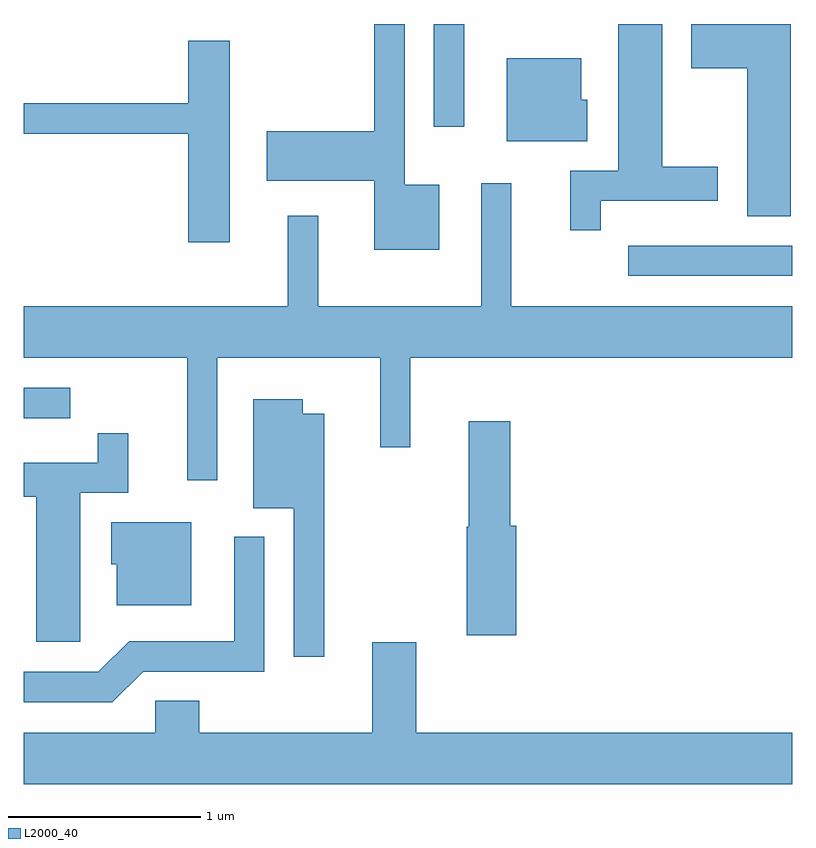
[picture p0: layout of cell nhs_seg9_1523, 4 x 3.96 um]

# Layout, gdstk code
import gdstk
lib = gdstk.Library(unit=1e-6, precision=1e-09)
def R(c, l, rs):  # rectangles x0, y0, x1, y1
    for r in rs: c.add(gdstk.rectangle(r[:2], r[2:], *l))
def P(c, l, *ps):  # polygons
    for p in ps: c.add(gdstk.Polygon(p, *l))
L2000_40 = (2000, 40)

nhs_seg9_1523 = lib.new_cell('nhs_seg9_1523')
R(nhs_seg9_1523, L2000_40, [(229.611,2000.381,229.853,2000.539), (232.758,2001.121,233.611,2001.279), (231.746,2001.898,231.904,2002.432)])
P(nhs_seg9_1523, L2000_40, [(231.774,2001.594),(231.594,2001.594),(231.594,2002.432),(231.436,2002.432),(231.436,2001.874),(230.876,2001.874),(230.876,2001.616),(231.436,2001.616),(231.436,2001.256),(231.774,2001.256)],
  [(232.614,2001.511),(233.224,2001.511),(233.224,2001.689),(232.934,2001.689),(232.934,2002.432),(232.706,2002.432),(232.706,2001.669),(232.456,2001.669),(232.456,2001.358),(232.614,2001.358)],
  [(233.604,2002.432),(233.086,2002.432),(233.086,2002.201),(233.376,2002.201),(233.376,2001.431),(233.604,2001.431)],
  [(230.684,2002.344),(230.466,2002.344),(230.466,2002.019),(229.611,2002.019),(229.611,2001.861),(230.466,2001.861),(230.466,2001.296),(230.684,2001.296)],
  [(232.544,2002.039),(232.514,2002.039),(232.514,2002.254),(232.126,2002.254),(232.126,2001.821),(232.544,2001.821)],
  [(230.619,2000.696),(231.466,2000.696),(231.466,2000.228),(231.624,2000.228),(231.624,2000.696),(233.611,2000.696),(233.611,2000.964),(232.149,2000.964),(232.149,2001.603),(231.991,2001.603),(231.991,2000.964),(231.144,2000.964),(231.144,2001.433),(230.986,2001.433),(230.986,2000.964),(229.611,2000.964),(229.611,2000.696),(230.461,2000.696),(230.461,2000.058),(230.619,2000.058)],
  [(231.174,2000.404),(231.064,2000.404),(231.064,2000.479),(230.806,2000.479),(230.806,1999.911),(231.016,1999.911),(231.016,1999.138),(231.174,1999.138)],
  [(232.174,1999.819),(232.144,1999.819),(232.144,2000.364),(231.926,2000.364),(231.926,1999.815),(231.916,1999.815),(231.916,1999.251),(232.174,1999.251)],
  [(229.904,1999.991),(230.154,1999.991),(230.154,2000.303),(229.996,2000.303),(229.996,2000.149),(229.611,2000.149),(229.611,1999.971),(229.676,1999.971),(229.676,1999.216),(229.904,1999.216)],
  [(230.484,1999.839),(230.066,1999.839),(230.066,1999.621),(230.096,1999.621),(230.096,1999.406),(230.484,1999.406)],
  [(230.232,1999.061),(230.864,1999.061),(230.864,1999.763),(230.706,1999.763),(230.706,1999.219),(230.159,1999.219),(229.999,1999.059),(229.611,1999.059),(229.611,1998.901),(230.072,1998.901)],
  [(233.611,1998.744),(231.654,1998.744),(231.654,1999.214),(231.426,1999.214),(231.426,1998.744),(230.524,1998.744),(230.524,1998.909),(230.296,1998.909),(230.296,1998.744),(229.611,1998.744),(229.611,1998.476),(233.611,1998.476)])

lib.write_gds('nhs_seg9_1523.gds')
